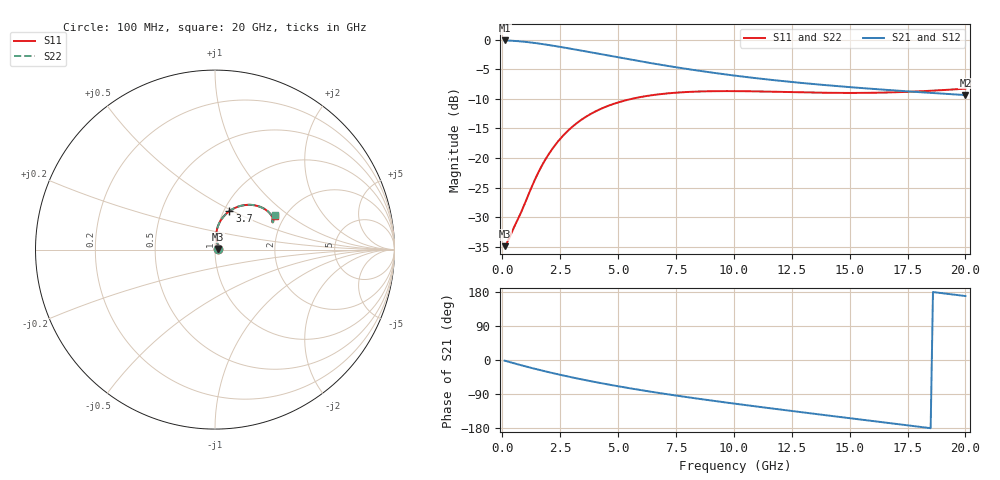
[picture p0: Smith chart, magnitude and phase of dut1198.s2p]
! Touchstone file exported from HFSS 2024.1.0
!  File:  C:/UserFiles/LocalFiles/RDL_TSV_Batchsim/temp_RDL_TSV_1198_1780129950.aedt
!  Generated:  04:45:54 PM May 30, 2026
!  Design:  RDL_TSV
!  Project:  temp_RDL_TSV_1198_1780129950
!  Setup:  Setup1
!  Solution:  Sweep
! Variables:
!  dtsv = 8.96um
!  hbump = 3um
!  htsv = 82.71um
!  ldown = 134.11um
!  lrdl = 536.56um
!  p = 40
!  p1 = 54.55um
!  rhole = 10um
!  subl = 2548.57um
!  t = 450um
!  tdown = 2.55um
!  trdl = 3.53um
!  viad = 10um
!  wdown = 22.24um
!  wrdl = 14.82um
!  xbump = 18um
# GHz S MA R 50.000000
! Terminal data exported
! Port[1] = TM1_1_T1
! Port[2] = TM1_4_T1
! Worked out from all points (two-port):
!   200 points, 100 MHz to 20 GHz, reference 50 ohm
!   highest |S21| = -0.16 dB at 100 MHz (marker M1); lowest = -9.4 dB at 20 GHz (marker M2)
!   |S21| within 3 dB of the highest: start of sweep to 5.222 GHz
!   lowest |S11| = -34.9 dB at 100 MHz (marker M3), VSWR 1.04, Z = 51.8 + j0.414 ohm
!   |S11| at or under -10 dB: start of sweep to 5.596 GHz
!   |S22| runs from -34.9 to -8.3 dB; largest |S21 - S12| = 9.4e-15
!   S11 on the Smith chart (normalised r, x): 100 MHz: 1.04, +0.01; 3.7 GHz: 1.06, +0.48; 20 GHz: 1.78, +0.79
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0.1  0.01809 12.8  0.982 -1.7  0.982 -1.7  0.01809 12.8
! Gamma 0 0 0 0
! Port Impedance 50 0 50 0
0.3  0.02118 34.2  0.9791 -5.2  0.9791 -5.2  0.0212 34.3
0.9  0.03823 70.4  0.9599 -15.2  0.9599 -15.2  0.03817 70.4
1.4  0.06525 83.5  0.9352 -23.1  0.9352 -23.1  0.06528 83.5
1.9  0.1002 85.0  0.9055 -30.6  0.9055 -30.6  0.1002 85.1
2.2  0.1226 83.6  0.8863 -34.9  0.8863 -34.9  0.1227 83.7
2.6  0.1528 80.5  0.8601 -40.4  0.8601 -40.4  0.1529 80.5
3  0.182 76.6  0.8336 -45.7  0.8336 -45.7  0.1821 76.7
3.5  0.2159 71.5  0.8007 -52.0  0.8007 -52.0  0.2161 71.6
3.7  0.2285 69.5  0.7877 -54.5  0.7877 -54.5  0.2287 69.5
4.4  0.2675 62.5  0.7436 -62.6  0.7436 -62.6  0.2678 62.5
5.1  0.2987 56.1  0.7021 -70.3  0.7021 -70.3  0.2989 56.2
5.9  0.3254 49.7  0.6584 -78.6  0.6584 -78.6  0.3257 49.8
6.8  0.3459 43.6  0.6143 -87.3  0.6143 -87.3  0.3462 43.7
8.4  0.364 35.3  0.5487 -101.7  0.5487 -101.7  0.3644 35.4
10.1  0.3671 29.5  0.4945 -115.7  0.4945 -115.7  0.3676 29.6
11.7  0.3629 26.4  0.4549 -128.4  0.4549 -128.4  0.3633 26.5
13.4  0.357 25.3  0.4219 -141.4  0.4219 -141.4  0.3574 25.3
15  0.3544 25.7  0.3968 -153.5  0.3968 -153.5  0.3548 25.7
16.7  0.3578 27.0  0.3748 -166.3  0.3748 -166.3  0.3583 27.0
18.3  0.368 28.5  0.3569 -178.4  0.3569 -178.4  0.3684 28.5
20  0.385 29.5  0.34 168.8  0.34 168.8  0.3854 29.5
